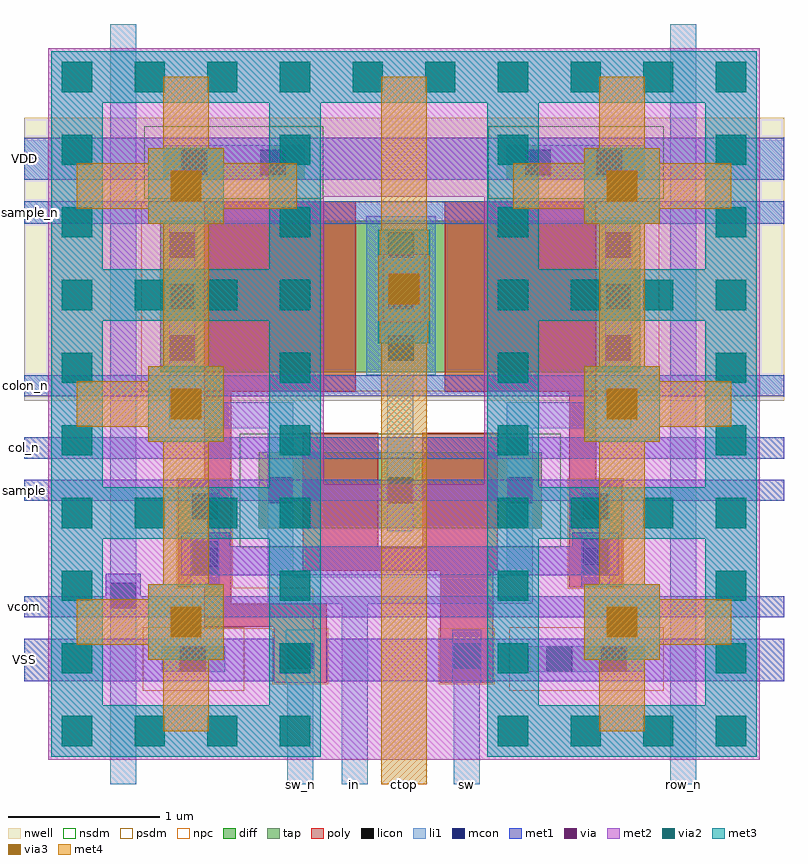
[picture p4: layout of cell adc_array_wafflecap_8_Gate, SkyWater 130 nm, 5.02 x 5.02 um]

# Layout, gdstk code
import gdstk
lib = gdstk.Library(unit=1e-6, precision=1e-09)
def R(c, l, rs):  # rectangles x0, y0, x1, y1
    for r in rs: c.add(gdstk.rectangle(r[:2], r[2:], *l))
def A(c, l, x, y, w, h, nx, ny, dx, dy):  # array of equal rectangles
    R(c, l, [(x+i*dx, y+j*dy, x+i*dx+w, y+j*dy+h) for i in range(nx) for j in range(ny)])
nwell = (64, 20)
diff = (65, 20)
tap = (65, 44)
poly = (66, 20)
licon = (66, 44)
li1 = (67, 20)
mcon = (67, 44)
met1 = (68, 20)
via = (68, 44)
met2 = (69, 20)
via2 = (69, 44)
met3 = (70, 20)
via3 = (70, 44)
met4 = (71, 20)
nsdm = (93, 44)
psdm = (94, 20)
npc = (95, 20)

adc_array_wafflecap_8_ga = lib.new_cell('adc_array_wafflecap_8_Gate_25um2')
R(adc_array_wafflecap_8_ga, met2, [(0.16,0.16,4.86,1.98), (0.16,1.98,1.98,3.88), (3.04,1.98,4.86,3.88), (0.16,3.88,4.86,4.86)])
A(adc_array_wafflecap_8_ga, via2, 0.25, 0.25, 0.2, 0.2, 4, 3, 0.48, 1.44)
A(adc_array_wafflecap_8_ga, via2, 3.13, 0.25, 0.2, 0.2, 4, 3, 0.48, 1.44)
A(adc_array_wafflecap_8_ga, via2, 0.25, 0.73, 0.2, 0.2, 4, 2, 1.44, 0.48)
A(adc_array_wafflecap_8_ga, via2, 0.25, 2.17, 0.2, 0.2, 4, 2, 1.44, 0.48)
A(adc_array_wafflecap_8_ga, via2, 0.25, 3.61, 0.2, 0.2, 4, 2, 1.44, 0.48)
A(adc_array_wafflecap_8_ga, via2, 0.25, 4.57, 0.2, 0.2, 10, 1, 0.48, 0)
A(adc_array_wafflecap_8_ga, met3, 0.18, 0.18, 1.78, 0.34, 1, 3, 0, 1.44)
A(adc_array_wafflecap_8_ga, met3, 3.06, 0.18, 1.78, 0.34, 1, 3, 0, 1.44)
A(adc_array_wafflecap_8_ga, met3, 0.18, 0.52, 0.34, 1.1, 4, 3, 1.44, 1.44)
A(adc_array_wafflecap_8_ga, met3, 0.82, 0.82, 0.5, 0.5, 1, 3, 0, 1.44)
A(adc_array_wafflecap_8_ga, met3, 3.7, 0.82, 0.5, 0.5, 1, 3, 0, 1.44)
R(adc_array_wafflecap_8_ga, met3, [(0.18,4.5,4.84,4.84)])
A(adc_array_wafflecap_8_ga, via3, 0.97, 0.97, 0.2, 0.2, 1, 3, 0, 1.44)
A(adc_array_wafflecap_8_ga, via3, 3.85, 0.97, 0.2, 0.2, 1, 3, 0, 1.44)
R(adc_array_wafflecap_8_ga, met4, [(0.92,0.35,1.22,0.82), (2.36,0.35,2.66,4.67), (3.8,0.35,4.1,0.82), (0.82,0.82,1.32,0.92), (3.7,0.82,4.2,0.92), (0.35,0.92,1.32,1.22), (3.7,0.92,4.67,1.22), (0.82,1.22,1.32,1.32), (3.7,1.22,4.2,1.32), (0.92,1.32,1.22,2.26), (3.8,1.32,4.1,2.26), (0.82,2.26,1.32,2.36), (3.7,2.26,4.2,2.36), (0.35,2.36,1.32,2.66), (3.7,2.36,4.67,2.66), (0.82,2.66,1.32,2.76), (3.7,2.66,4.2,2.76), (0.92,2.76,1.22,3.7), (3.8,2.76,4.1,3.7), (0.82,3.7,1.32,3.8), (3.7,3.7,4.2,3.8), (0.35,3.8,1.8,4.1), (3.23,3.8,4.67,4.1), (0.82,4.1,1.32,4.2), (3.7,4.1,4.2,4.2), (0.92,4.2,1.22,4.67), (3.8,4.2,4.1,4.67)])

adc_array_circuit_150n_g = lib.new_cell('adc_array_circuit_150n_Gate')
R(adc_array_circuit_150n_g, nwell, [(1.17,4.74,5.21,6.61)])
R(adc_array_circuit_150n_g, diff, [(2.25,3.9,4.12,4.4), (1.6,4.93,4.77,5.93)])
R(adc_array_circuit_150n_g, tap, [(1.61,2.95,2.03,3.12), (4.03,2.95,4.8,3.12), (1.62,6.2,2.55,6.43), (3.89,6.2,4.8,6.43)])
R(adc_array_circuit_150n_g, poly, [(2.35,2.88,2.7,3.25), (3.45,2.88,3.8,3.62), (1.89,3.25,2.7,3.4), (1.89,3.4,2.07,3.51), (1.72,3.51,2.07,4.22), (4.3,3.51,4.65,4.22), (2.54,3.62,3.83,3.77), (2.54,3.77,3.04,4.53), (3.33,3.77,3.83,4.53), (1.89,4.22,2.07,4.8), (4.3,4.22,4.48,4.8), (1.89,4.8,2.89,6.06), (3.48,4.8,4.48,6.06)])
A(adc_array_circuit_150n_g, licon, 2.31, 4.065, 0.17, 0.17, 3, 1, 0.79, 0)
A(adc_array_circuit_150n_g, licon, 1.66, 5.005, 0.17, 0.17, 1, 3, 0, 0.34)
A(adc_array_circuit_150n_g, licon, 3.105, 5.005, 0.17, 0.17, 1, 3, 0, 0.34)
A(adc_array_circuit_150n_g, licon, 4.54, 5.005, 0.17, 0.17, 1, 3, 0, 0.34)
R(adc_array_circuit_150n_g, licon, [(1.73,2.95,1.9,3.12), (4.15,2.95,4.32,3.12), (4.51,2.95,4.68,3.12), (2.44,2.97,2.61,3.14), (3.54,2.97,3.71,3.14), (1.81,3.6,1.98,3.77), (4.39,3.6,4.56,3.77), (1.81,3.96,1.98,4.13), (4.39,3.96,4.56,4.13), (1.74,6.23,1.91,6.4), (2.26,6.23,2.43,6.4), (4.01,6.23,4.18,6.4), (4.48,6.23,4.65,6.4)])
R(adc_array_circuit_150n_g, li1, [(1.27,2.85,1.44,6.64), (2.44,2.85,2.61,2.88), (2.8,2.85,2.97,3.4), (3.54,2.85,3.71,2.88), (4.97,2.85,5.14,6.64), (2.43,2.88,2.62,3.23), (3.53,2.88,3.72,3.23), (1.61,2.95,2.03,3.12), (4.03,2.95,4.8,3.12), (2.31,3.4,4.06,3.58), (1.8,3.51,1.99,4.22), (4.38,3.51,4.57,4.22), (2.31,3.58,2.48,4.56), (3.89,3.58,4.06,4.56), (3.1,3.88,3.27,4.91), (1.66,4.56,2.48,4.73), (3.89,4.56,4.71,4.73), (1.66,4.73,1.83,5.95), (4.54,4.73,4.71,5.95), (2.96,4.91,3.42,5.96), (1.62,6.2,2.55,6.43), (3.89,6.2,4.8,6.43)])
R(adc_array_circuit_150n_g, mcon, [(1.73,2.95,1.9,3.12), (4.15,2.95,4.32,3.12), (4.51,2.95,4.68,3.12), (1.27,3.37,1.44,3.54), (1.81,3.645,1.98,3.815), (4.39,3.655,4.56,3.825), (3.125,5.395,3.295,5.565), (1.74,6.23,1.91,6.4), (2.26,6.23,2.43,6.4), (4.01,6.23,4.18,6.4), (4.48,6.23,4.65,6.4)])
R(adc_array_circuit_150n_g, met1, [(1.17,2.89,2.35,3.17), (2.7,2.89,5.21,3.17), (1.17,3.31,5.21,3.45), (1.24,3.45,1.47,3.6), (1.74,3.59,4.63,3.78), (1.74,3.78,2.06,3.87), (4.32,3.78,4.63,3.87), (1.17,4.08,5.21,4.22), (1.17,4.36,5.21,4.5), (1.17,4.77,5.21,4.91), (3.04,5.12,3.38,5.71), (1.17,5.91,5.21,6.06), (1.17,6.2,5.21,6.48)])
R(adc_array_circuit_150n_g, via, [(3.135,5.405,3.285,5.555)])
R(adc_array_circuit_150n_g, met2, [(3.07,5.26,3.35,5.71)])
R(adc_array_circuit_150n_g, via2, [(3.11,5.38,3.31,5.58)])
R(adc_array_circuit_150n_g, met3, [(3.04,5.12,3.38,5.87)])
R(adc_array_circuit_150n_g, via3, [(3.11,5.38,3.31,5.58)])
R(adc_array_circuit_150n_g, met4, [(3.05,5.12,3.37,5.27), (3.04,5.27,3.38,5.7), (3.05,5.7,3.37,5.87)])
R(adc_array_circuit_150n_g, nsdm, [(2.125,3.775,4.245,4.525), (1.495,6.075,2.675,6.555), (3.765,6.075,4.925,6.555)])
R(adc_array_circuit_150n_g, psdm, [(1.485,2.825,2.155,3.245), (3.905,2.825,4.925,3.245), (1.475,4.805,4.895,6.055)])
R(adc_array_circuit_150n_g, npc, [(2.34,2.87,2.71,3.235), (3.44,2.87,3.81,3.24), (1.81,3.235,2.71,3.24), (1.81,3.24,2.61,3.5), (1.71,3.5,2.61,3.505), (4.29,3.5,4.66,4.23), (1.71,3.505,2.08,4.23)])
adc_array_circuit_150n_g.add(gdstk.Label('VDD', (1.17,6.34), layer=68, texttype=16))
adc_array_circuit_150n_g.add(gdstk.Label('VSS', (1.17,3.03), layer=68, texttype=16))
adc_array_circuit_150n_g.add(gdstk.Label('vcom', (1.17,3.38), layer=68, texttype=16))
adc_array_circuit_150n_g.add(gdstk.Label('sample', (1.17,4.15), layer=68, texttype=16))
adc_array_circuit_150n_g.add(gdstk.Label('sample_n', (1.17,5.985), layer=68, texttype=16))
adc_array_circuit_150n_g.add(gdstk.Label('col_n', (1.17,4.43), layer=68, texttype=16))
adc_array_circuit_150n_g.add(gdstk.Label('colon_n', (1.17,4.84), layer=68, texttype=16))
adc_array_circuit_150n_g.add(gdstk.Label('row_n', (5.055,2.85), layer=67, texttype=16))
adc_array_circuit_150n_g.add(gdstk.Label('sw_n', (2.525,2.85), layer=67, texttype=16))
adc_array_circuit_150n_g.add(gdstk.Label('in', (2.885,2.85), layer=67, texttype=16))
adc_array_circuit_150n_g.add(gdstk.Label('sw', (3.625,2.85), layer=67, texttype=16))
adc_array_circuit_150n_g.add(gdstk.Label('out', (3.21,5.87), layer=71, texttype=16))

c_adc_array_wafflecap_8_ga = lib.new_cell('adc_array_wafflecap_8_Gate')
R(c_adc_array_wafflecap_8_ga, nwell, [(0,2.53,0.47,4.4), (4.51,2.53,5.02,4.4)])
R(c_adc_array_wafflecap_8_ga, li1, [(0.57,0,0.74,0.64), (1.74,0,1.91,0.64), (2.1,0,2.27,0.64), (2.84,0,3.01,0.64), (4.27,0,4.44,0.64), (0.57,4.43,0.74,5.02), (4.27,4.43,4.44,5.02)])
R(c_adc_array_wafflecap_8_ga, met1, [(0,0.68,0.47,0.96), (4.51,0.68,5.02,0.96), (0,1.1,0.47,1.24), (4.51,1.1,5.02,1.24), (0,1.87,0.47,2.01), (4.51,1.87,5.02,2.01), (0,2.15,0.47,2.29), (4.51,2.15,5.02,2.29), (0,2.56,0.47,2.7), (4.51,2.56,5.02,2.7), (0,3.7,0.47,3.85), (4.51,3.7,5.02,3.85), (0,3.99,0.47,4.27), (4.51,3.99,5.02,4.27)])
R(c_adc_array_wafflecap_8_ga, met4, [(2.36,0,2.66,0.35), (2.36,4.56,2.66,4.67)])
c_adc_array_wafflecap_8_ga.add(gdstk.Reference(adc_array_wafflecap_8_ga, (0,0)))
c_adc_array_wafflecap_8_ga.add(gdstk.Reference(adc_array_circuit_150n_g, (-0.7,-2.21)))
c_adc_array_wafflecap_8_ga.add(gdstk.Label('sample_n', (0,3.775), layer=68, texttype=16))
c_adc_array_wafflecap_8_ga.add(gdstk.Label('colon_n', (0,2.63), layer=68, texttype=16))
c_adc_array_wafflecap_8_ga.add(gdstk.Label('col_n', (0,2.22), layer=68, texttype=16))
c_adc_array_wafflecap_8_ga.add(gdstk.Label('sample', (0,1.94), layer=68, texttype=16))
c_adc_array_wafflecap_8_ga.add(gdstk.Label('vcom', (0,1.17), layer=68, texttype=16))
c_adc_array_wafflecap_8_ga.add(gdstk.Label('VSS', (0,0.82), layer=68, texttype=16))
c_adc_array_wafflecap_8_ga.add(gdstk.Label('row_n', (4.355,0), layer=67, texttype=16))
c_adc_array_wafflecap_8_ga.add(gdstk.Label('sw_n', (1.825,0), layer=67, texttype=16))
c_adc_array_wafflecap_8_ga.add(gdstk.Label('in', (2.185,0), layer=67, texttype=16))
c_adc_array_wafflecap_8_ga.add(gdstk.Label('sw', (2.925,0), layer=67, texttype=16))
c_adc_array_wafflecap_8_ga.add(gdstk.Label('VDD', (0,4.13), layer=68, texttype=16))
c_adc_array_wafflecap_8_ga.add(gdstk.Label('ctop', (2.51,0), layer=71, texttype=16))

lib.write_gds('adc_array_wafflecap_8_Gate.gds')
